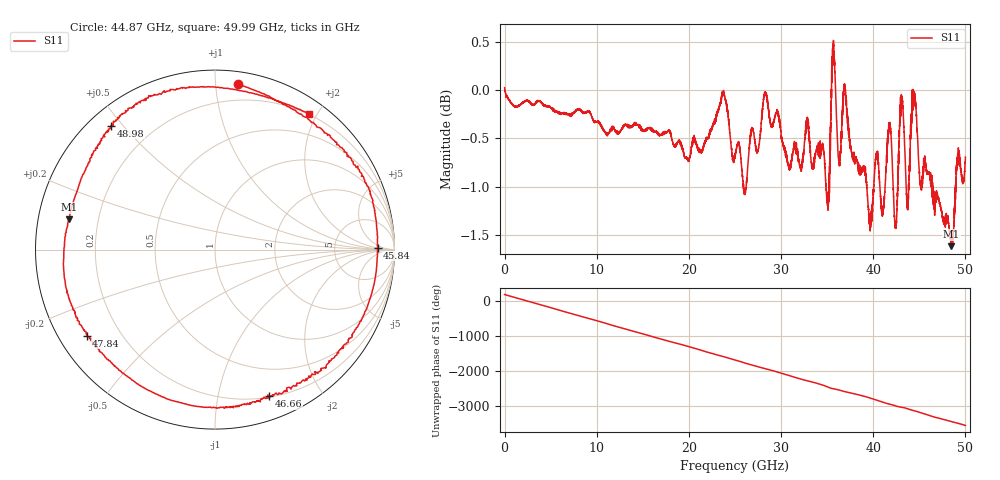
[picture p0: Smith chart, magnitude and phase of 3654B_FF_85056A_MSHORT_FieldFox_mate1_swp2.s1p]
!Created with skrf (http://scikit-rf.org).
# Hz S RI R 50.0
!freq ReS11 ImS11
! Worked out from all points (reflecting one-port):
!   10000 points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, 5.3 MHz to 50 GHz, reference 50 ohm
!   lowest |S11| = -1.6 dB at 48.48 GHz (marker M1), VSWR 10.79, Z = 4.68 + j5.06 ohm
!   phase of S11 starts at 180 deg and turns -3725 deg over the sweep
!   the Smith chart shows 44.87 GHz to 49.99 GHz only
!   S11 on the Smith chart (normalised r, x): 44.87 GHz: 0.08, +1.14; 45.84 GHz: 20, +2; 46.66 GHz: 0.21, -1.42; 47.84 GHz: 0.08, -0.30; 48.98 GHz: 0.06, +0.46; 49.99 GHz: 0.19, +1.89
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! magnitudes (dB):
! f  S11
! 5.3 MHz  0.0
! 6.255 GHz  -0.2
! 12.51 GHz  -0.4
! 18.76 GHz  -0.5
! 23.73 GHz  0.0
! 25.01 GHz  -0.7
! 26.1 GHz  -1.0
! 28.3 GHz  0.0
! 31.26 GHz  -0.7
! 35.04 GHz  -1.2
! 35.7 GHz  0.4
! 36.27 GHz  -0.7
! 36.9 GHz  0.0
! 37.51 GHz  -0.6
! 39.68 GHz  -1.4
! 41.78 GHz  -0.4
! 42.42 GHz  -1.4
! 43.1 GHz  -0.1
! 43.76 GHz  -1.2
! 44.37 GHz  -0.2
! 44.87 GHz  -0.6
! 45.84 GHz  -0.9
! 46.66 GHz  -1.2
! 47.84 GHz  -1.3
! 48.48 GHz  -1.6
! 48.98 GHz  -0.9
! 49.99 GHz  -0.7
! 50 GHz  -0.7
